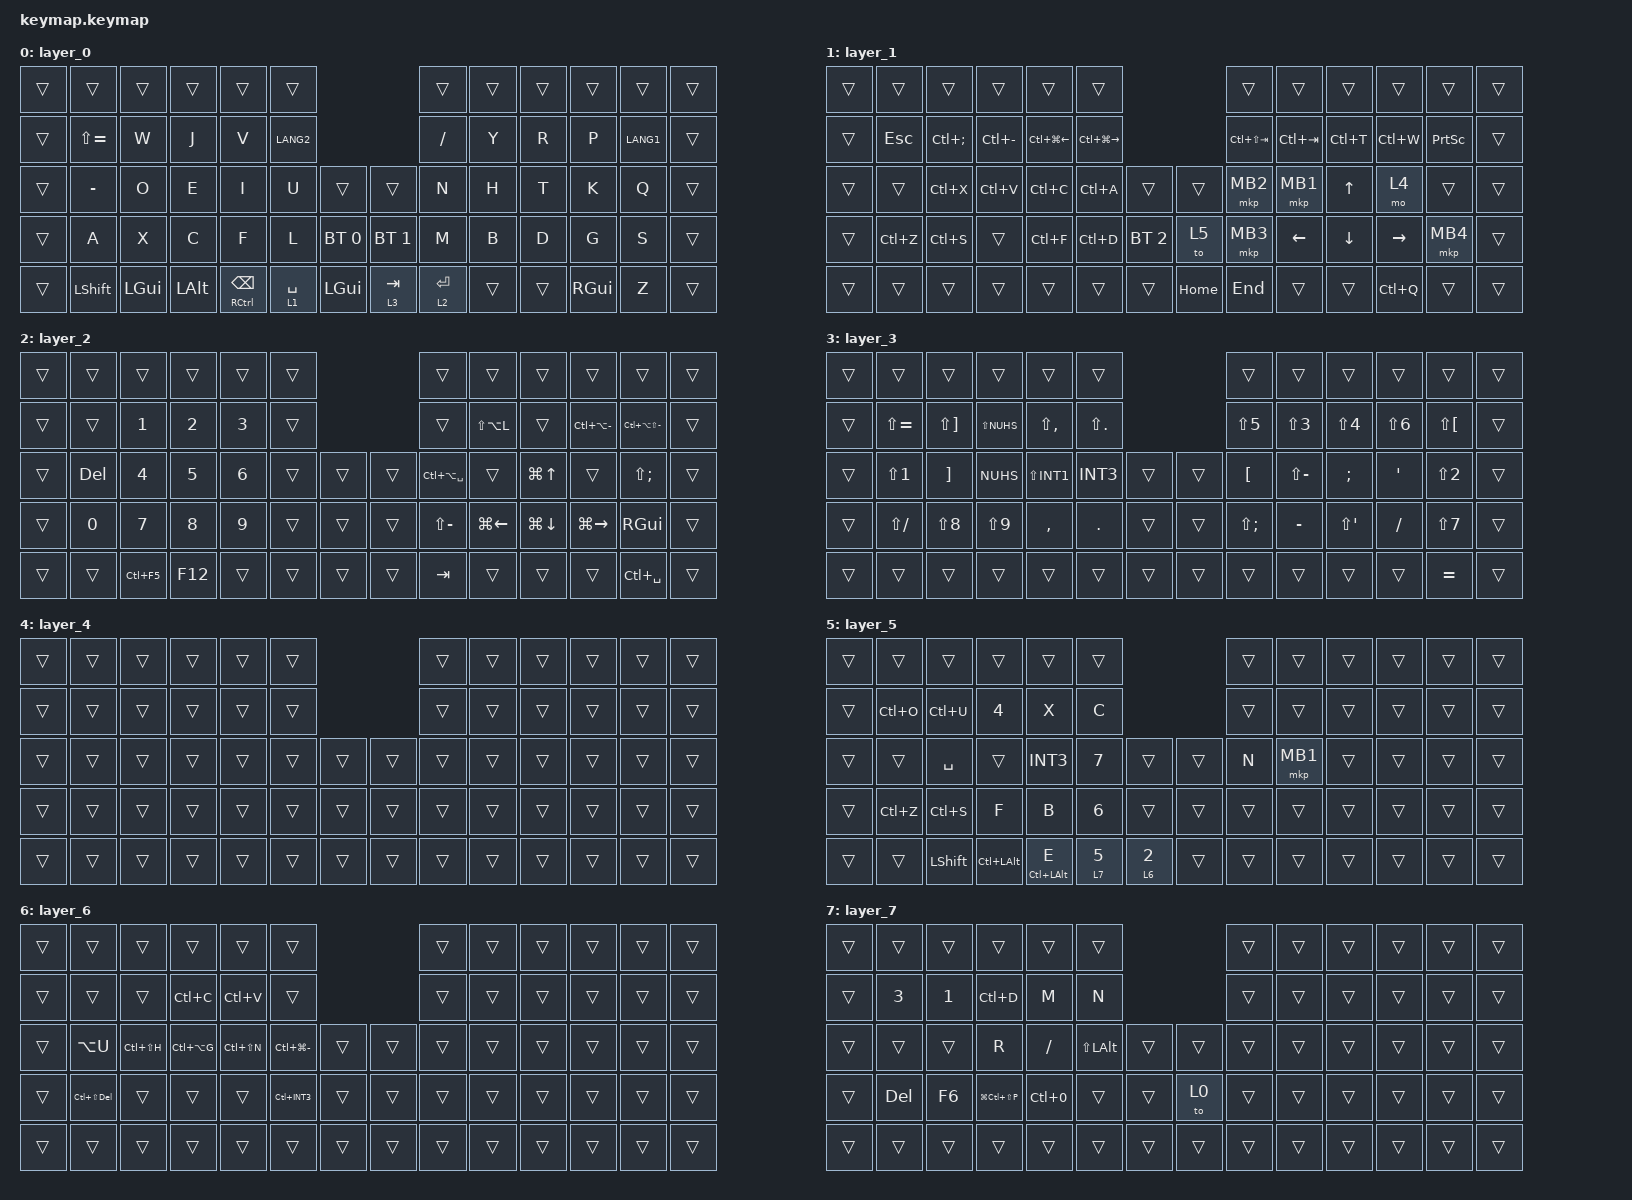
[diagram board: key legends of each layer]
#include <behaviors.dtsi>
#include <dt-bindings/zmk/bt.h>
#include <dt-bindings/zmk/keys.h>
#include <dt-bindings/zmk/outputs.h>
#include <dt-bindings/zmk/pointing.h>
#include <input/processors.dtsi>

/ {
    behaviors {
        bspc_ctrl: bspc_ctrl {
            compatible = "zmk,behavior-hold-tap";
            #binding-cells = <2>;
            flavor = "hold-preferred";
            tapping-term-ms = <200>;
            quick-tap-ms = <200>;
            bindings = <&kp>, <&kp>;
        };
    };

    combos {
        compatible = "zmk,combos";

        bt_clear {
            bindings = <&bt BT_CLR>;
            key-positions = <28 29>;
            layers = <2>;
        };
    };

    keymap {
        compatible = "zmk,keymap";

        layer_0 {
            bindings = <
&trans  &trans         &trans    &trans    &trans          &trans                                       &trans         &trans  &trans  &trans    &trans     &trans
&trans  &kp LS(EQUAL)  &kp W     &kp J     &kp V           &kp LANG2                                    &kp SLASH  &kp Y   &kp R   &kp P     &kp LANG1  &trans
&trans  &kp MINUS      &kp O     &kp E     &kp I           &kp U        &trans            &trans        &kp N          &kp H   &kp T   &kp K     &kp Q      &trans
&trans  &kp A          &kp X     &kp C     &kp F           &kp L        &bt BT_SEL 0      &bt BT_SEL 1  &kp M          &kp B   &kp D   &kp G     &kp S      &trans
&trans  &kp LSHFT      &kp LGUI  &kp LALT  &bspc_ctrl RCTRL BSPC  &lt 1 SPACE  &kp LGUI          &lt 3 TAB     &lt 2 RET      &trans  &trans  &kp RGUI  &kp Z      &trans
            >;
        };

        layer_1 {
            bindings = <
&trans  &trans     &trans        &trans         &trans            &trans                                         &trans           &trans       &trans     &trans     &trans           &trans
&trans  &kp ESC    &kp LC(SEMI)  &kp LC(MINUS)  &kp LC(LG(LEFT))  &kp LC(LG(RIGHT))                              &kp LC(LS(TAB))  &kp LC(TAB)  &kp LC(T)  &kp LC(W)  &kp PRINTSCREEN  &trans
&trans  &trans     &kp LC(X)     &kp LC(V)      &kp LC(C)         &kp LC(A)       &trans        &trans           &mkp MB2         &mkp MB1     &kp UP     &mo 4      &trans           &trans
&trans  &kp LC(Z)  &kp LC(S)     &trans         &kp LC(F)         &kp LC(D)       &bt BT_SEL 2  &to 5            &mkp MB3         &kp LEFT     &kp DOWN   &kp RIGHT  &mkp MB4         &trans
&trans  &trans     &trans        &trans         &trans            &trans          &trans        &kp HOME         &kp END          &trans       &trans     &kp LC(Q)  &trans           &trans
            >;
        };

        layer_2 {
            bindings = <
&trans  &trans      &trans      &trans   &trans  &trans                  &trans             &trans              &trans        &trans             &trans                 &trans
&trans  &trans      &kp N1      &kp N2   &kp N3  &trans                  &trans             &kp LS(LA(L))       &trans        &kp LC(LA(MINUS))  &kp LC(LA(LS(MINUS)))  &trans
&trans  &kp DELETE  &kp N4      &kp N5   &kp N6  &trans  &trans  &trans  &kp LC(LA(SPACE))  &trans              &kp LG(UP)    &trans             &kp LS(SEMI)           &trans
&trans  &kp N0      &kp N7      &kp N8   &kp N9  &trans  &trans  &trans  &kp LS(MINUS)      &kp LG(LEFT)        &kp LG(DOWN)  &kp LG(RIGHT)      &kp RGUI               &trans
&trans  &trans      &kp LC(F5)  &kp F12  &trans  &trans  &trans  &trans  &kp TAB            &trans              &trans        &trans             &kp LC(SPACE)          &trans
            >;
        };

        layer_3 {
            bindings = <
&trans  &trans         &trans        &trans        &trans         &trans                        &trans        &trans         &trans       &trans      &trans        &trans
&trans  &kp LS(EQUAL)  &kp LS(RBKT)  &kp LS(NUHS)  &kp LS(COMMA)  &kp LS(DOT)                   &kp LS(N5)    &kp LS(N3)     &kp LS(N4)   &kp LS(N6)  &kp LS(LBKT)  &trans
&trans  &kp LS(N1)     &kp RBKT      &kp NUHS      &kp LS(INT1)   &kp INT3      &trans  &trans  &kp LBKT      &kp LS(MINUS)  &kp SEMI     &kp SQT     &kp LS(N2)    &trans
&trans  &kp LS(SLASH)  &kp LS(N8)    &kp LS(N9)    &kp COMMA      &kp DOT       &trans  &trans  &kp LS(SEMI)  &kp MINUS      &kp LS(SQT)  &kp SLASH   &kp LS(N7)    &trans
&trans  &trans         &trans        &trans        &trans         &trans        &trans  &trans  &trans        &trans         &trans       &trans      &kp EQUAL     &trans
            >;
        };

        layer_4 {
            bindings = <
&trans  &trans  &trans  &trans  &trans  &trans                  &trans  &trans  &trans  &trans  &trans  &trans
&trans  &trans  &trans  &trans  &trans  &trans                  &trans  &trans  &trans  &trans  &trans  &trans
&trans  &trans  &trans  &trans  &trans  &trans  &trans  &trans  &trans  &trans  &trans  &trans  &trans  &trans
&trans  &trans  &trans  &trans  &trans  &trans  &trans  &trans  &trans  &trans  &trans  &trans  &trans  &trans
&trans  &trans  &trans  &trans  &trans  &trans  &trans  &trans  &trans  &trans  &trans  &trans  &trans  &trans
            >;
        };

        layer_5 {
            bindings = <
&trans  &trans     &trans     &trans        &trans             &trans                      &trans  &trans    &trans  &trans  &trans  &trans
&trans  &kp LC(O)  &kp LC(U)  &kp N4        &kp X              &kp C                       &trans  &trans    &trans  &trans  &trans  &trans
&trans  &trans     &kp SPACE  &trans        &kp INT3           &kp N7    &trans    &trans  &kp N   &mkp MB1  &trans  &trans  &trans  &trans
&trans  &kp LC(Z)  &kp LC(S)  &kp F         &kp B              &kp N6    &trans    &trans  &trans  &trans    &trans  &trans  &trans  &trans
&trans  &trans     &kp LSHFT  &kp LC(LALT)  &mt LC(LALT) E     &lt 7 N5  &lt 6 N2  &trans  &trans  &trans    &trans  &trans  &trans  &trans
            >;
        };

        layer_6 {
            bindings = <
&trans  &trans              &trans          &trans         &trans         &trans                             &trans  &trans  &trans  &trans  &trans  &trans
&trans  &trans              &trans          &kp LC(C)      &kp LC(V)      &trans                             &trans  &trans  &trans  &trans  &trans  &trans
&trans  &kp LA(U)           &kp LC(LS(H))   &kp LC(LA(G))  &kp LC(LS(N))  &kp LC(LG(MINUS))  &trans  &trans  &trans  &trans  &trans  &trans  &trans  &trans
&trans  &kp LC(LS(DELETE))  &trans          &trans         &trans         &kp LC(INT3)       &trans  &trans  &trans  &trans  &trans  &trans  &trans  &trans
&trans  &trans              &trans          &trans         &trans         &trans             &trans  &trans  &trans  &trans  &trans  &trans  &trans  &trans
            >;
        };

        layer_7 {
            bindings = <
&trans  &trans      &trans  &trans             &trans      &trans                        &trans  &trans  &trans  &trans  &trans  &trans
&trans  &kp N3      &kp N1  &kp LC(D)          &kp M       &kp N                         &trans  &trans  &trans  &trans  &trans  &trans
&trans  &trans      &trans  &kp R              &kp SLASH   &kp LS(LALT)  &trans  &trans  &trans  &trans  &trans  &trans  &trans  &trans
&trans  &kp DELETE  &kp F6  &kp LG(LC(LS(P)))  &kp LC(N0)  &trans        &trans  &to 0   &trans  &trans  &trans  &trans  &trans  &trans
&trans  &trans      &trans  &trans             &trans      &trans        &trans  &trans  &trans  &trans  &trans  &trans  &trans  &trans
            >;
        };
    };
};
